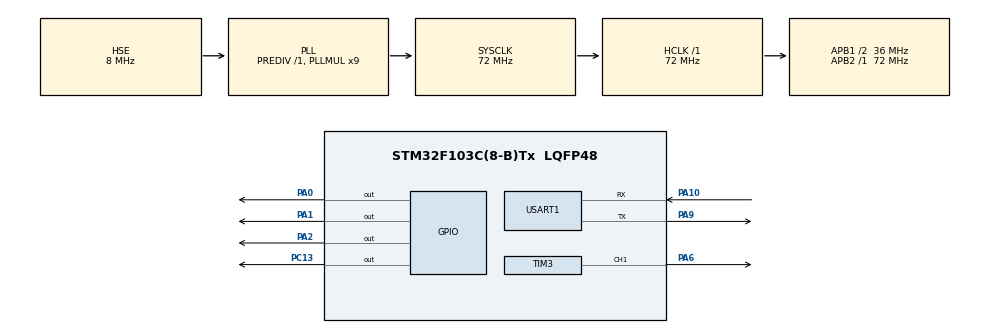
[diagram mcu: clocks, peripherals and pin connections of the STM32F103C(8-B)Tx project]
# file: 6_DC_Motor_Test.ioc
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Mcu.Family=STM32F1
Mcu.Name=STM32F103C(8-B)Tx
Mcu.Package=LQFP48
NVIC.PriorityGroup=NVIC_PRIORITYGROUP_4
NVIC.USART1_IRQn=true\:0\:0\:false\:false\:true\:true\:true\:true
PA0-WKUP.PinState=GPIO_PIN_SET
PA0-WKUP.Signal=GPIO_Output
PA1.PinState=GPIO_PIN_SET
PA1.Signal=GPIO_Output
PA10.Mode=Asynchronous
PA10.Signal=USART1_RX
PA13.Mode=Serial_Wire
PA13.Signal=SYS_JTMS-SWDIO
PA14.Mode=Serial_Wire
PA14.Signal=SYS_JTCK-SWCLK
PA2.PinState=GPIO_PIN_SET
PA2.Signal=GPIO_Output
PA6.Signal=S_TIM3_CH1
PA9.Mode=Asynchronous
PA9.Signal=USART1_TX
PC13-TAMPER-RTC.PinState=GPIO_PIN_SET
PC13-TAMPER-RTC.Signal=GPIO_Output
PD0-OSC_IN.Mode=HSE-External-Oscillator
PD0-OSC_IN.Signal=RCC_OSC_IN
PD1-OSC_OUT.Mode=HSE-External-Oscillator
PD1-OSC_OUT.Signal=RCC_OSC_OUT
ProjectManager.HeapSize=0x200
ProjectManager.StackSize=0x400
ProjectManager.TargetToolchain=MDK-ARM V5.32
RCC.AHBFreq_Value=72000000
RCC.APB1CLKDivider=RCC_HCLK_DIV2
RCC.APB1Freq_Value=36000000
RCC.APB1TimFreq_Value=72000000
RCC.APB2Freq_Value=72000000
RCC.APB2TimFreq_Value=72000000
RCC.EnbaleCSS=true
RCC.HCLKFreq_Value=72000000
RCC.PLLMUL=RCC_PLL_MUL9
RCC.PLLSourceVirtual=RCC_PLLSOURCE_HSE
RCC.SYSCLKFreq_VALUE=72000000
RCC.SYSCLKSource=RCC_SYSCLKSOURCE_PLLCLK
RCC.USBFreq_Value=72000000
SH.S_TIM3_CH1.0=TIM3_CH1,PWM Generation1 CH1
TIM3.Channel-PWM\ Generation1\ CH1=TIM_CHANNEL_1
TIM3.Period=1000-1
TIM3.Prescaler=72-1
USART1.VirtualMode=VM_ASYNC
board=custom

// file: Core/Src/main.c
/* USER CODE BEGIN Header */
/**
  ******************************************************************************
  * @file           : main.c
  * @brief          : Main program body
  ******************************************************************************
  * @attention
  *
  * Copyright (c) 2025 STMicroelectronics.
  * All rights reserved.
  *
  * This software is licensed under terms that can be found in the LICENSE file
  * in the root directory of this software component.
  * If no LICENSE file comes with this software, it is provided AS-IS.
  *
  ******************************************************************************
  */
/* USER CODE END Header */
#include "main.h"
#include "tim.h"
#include "usart.h"
#include "gpio.h"

void SystemClock_Config(void);

int main(void)
{

  /* MCU Configuration--------------------------------------------------------*/

  /* Reset of all peripherals, Initializes the Flash interface and the Systick. */
  HAL_Init();

  /* Configure the system clock */
  SystemClock_Config();

  /* Initialize all configured peripherals */
  MX_GPIO_Init();
  MX_TIM3_Init();
  MX_USART1_UART_Init();
  /* USER CODE BEGIN 2 */

  HAL_TIM_PWM_Start(&htim3, TIM_CHANNEL_1);

  /* USER CODE END 2 */

  /* Infinite loop */
  /* USER CODE BEGIN WHILE */
  while (1)
  {
    HAL_GPIO_TogglePin(GPIOC, GPIO_PIN_13);
    HAL_Delay(100);
    HAL_GPIO_TogglePin(GPIOC, GPIO_PIN_13);
    // HAL_Delay(100);
    // HAL_GPIO_TogglePin(GPIOC, GPIO_PIN_13);
    // HAL_Delay(100);

    // 正转
    HAL_GPIO_WritePin(GPIOA, GPIO_PIN_0, GPIO_PIN_SET);
    HAL_GPIO_WritePin(GPIOA, GPIO_PIN_1, GPIO_PIN_RESET);
    __HAL_TIM_SET_COMPARE(&htim3, TIM_CHANNEL_1, 700);
    HAL_Delay(1000);

    // // 更加平滑
    // HAL_GPIO_WritePin(GPIOA, GPIO_PIN_0, GPIO_PIN_RESET);
    // HAL_GPIO_WritePin(GPIOA, GPIO_PIN_1, GPIO_PIN_RESET);
    // HAL_Delay(100);

    HAL_GPIO_TogglePin(GPIOC, GPIO_PIN_13);
    HAL_Delay(100);
    HAL_GPIO_TogglePin(GPIOC, GPIO_PIN_13);

    // 反转
    HAL_GPIO_WritePin(GPIOA, GPIO_PIN_0, GPIO_PIN_RESET);
    HAL_GPIO_WritePin(GPIOA, GPIO_PIN_1, GPIO_PIN_SET);
    __HAL_TIM_SET_COMPARE(&htim3, TIM_CHANNEL_1, 1000);
    HAL_Delay(1000);

    //   // 更加平滑
    // HAL_GPIO_WritePin(GPIOA, GPIO_PIN_0, GPIO_PIN_RESET);
    // HAL_GPIO_WritePin(GPIOA, GPIO_PIN_1, GPIO_PIN_RESET);
    // HAL_Delay(100);

    HAL_GPIO_TogglePin(GPIOC, GPIO_PIN_13);
    HAL_Delay(100);
    HAL_GPIO_TogglePin(GPIOC, GPIO_PIN_13);

    // // 制动
    // HAL_GPIO_WritePin(GPIOA, GPIO_PIN_3, GPIO_PIN_RESET);
    // HAL_Delay(500);

    HAL_GPIO_TogglePin(GPIOC, GPIO_PIN_13);
    HAL_Delay(300);
    HAL_GPIO_TogglePin(GPIOC, GPIO_PIN_13);

    // 制动
    __HAL_TIM_SET_COMPARE(&htim3, TIM_CHANNEL_1, 0);
    // HAL_GPIO_WritePin(GPIOA, GPIO_PIN_0, GPIO_PIN_RESET);
    // HAL_GPIO_WritePin(GPIOA, GPIO_PIN_1, GPIO_PIN_RESET);
    // HAL_GPIO_WritePin(GPIOA, GPIO_PIN_3, GPIO_PIN_SET);

    // 延时
    HAL_Delay(3000);

    /* USER CODE END WHILE */

  }
}

void SystemClock_Config(void)
{
  RCC_OscInitTypeDef RCC_OscInitStruct = {0};
  RCC_ClkInitTypeDef RCC_ClkInitStruct = {0};

  /** Initializes the RCC Oscillators according to the specified parameters
  * in the RCC_OscInitTypeDef structure.
  */
  RCC_OscInitStruct.OscillatorType = RCC_OSCILLATORTYPE_HSE;
  RCC_OscInitStruct.HSEState = RCC_HSE_ON;
  RCC_OscInitStruct.HSEPredivValue = RCC_HSE_PREDIV_DIV1;
  RCC_OscInitStruct.HSIState = RCC_HSI_ON;
  RCC_OscInitStruct.PLL.PLLState = RCC_PLL_ON;
  RCC_OscInitStruct.PLL.PLLSource = RCC_PLLSOURCE_HSE;
  RCC_OscInitStruct.PLL.PLLMUL = RCC_PLL_MUL9;
  if (HAL_RCC_OscConfig(&RCC_OscInitStruct) != HAL_OK)
  {
    Error_Handler();
  }

  /** Initializes the CPU, AHB and APB buses clocks
  */
  RCC_ClkInitStruct.ClockType = RCC_CLOCKTYPE_HCLK|RCC_CLOCKTYPE_SYSCLK
                              |RCC_CLOCKTYPE_PCLK1|RCC_CLOCKTYPE_PCLK2;
  RCC_ClkInitStruct.SYSCLKSource = RCC_SYSCLKSOURCE_PLLCLK;
  RCC_ClkInitStruct.AHBCLKDivider = RCC_SYSCLK_DIV1;
  RCC_ClkInitStruct.APB1CLKDivider = RCC_HCLK_DIV2;
  RCC_ClkInitStruct.APB2CLKDivider = RCC_HCLK_DIV1;

  if (HAL_RCC_ClockConfig(&RCC_ClkInitStruct, FLASH_LATENCY_2) != HAL_OK)
  {
    Error_Handler();
  }

  /** Enables the Clock Security System
  */
  HAL_RCC_EnableCSS();
}

void Error_Handler(void)
{
  __disable_irq();
  while (1)
  {
  }
}
